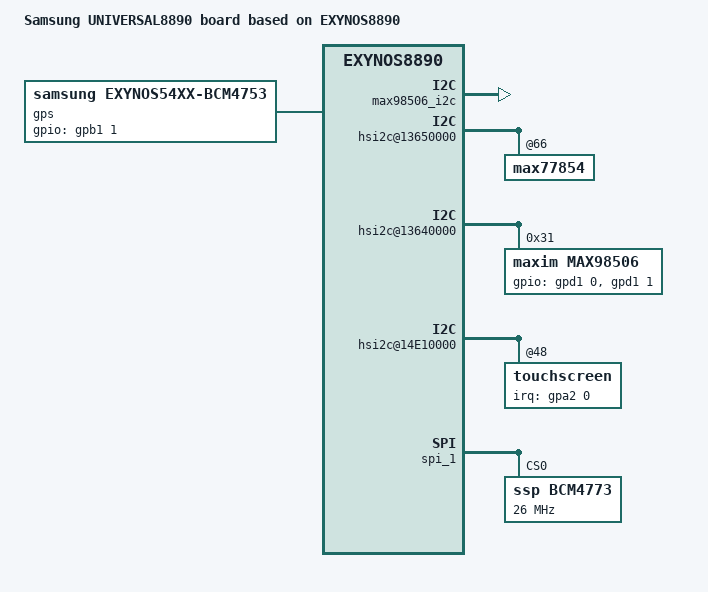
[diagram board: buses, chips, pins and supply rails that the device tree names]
/*
 * SAMSUNG UNIVERSAL8890 board device tree source
 *
 * Copyright (c) 2013 Samsung Electronics Co., Ltd.
 *		http://www.samsung.com
 *
 * This program is free software; you can redistribute it and/or modify
 * it under the terms of the GNU General Public License version 2 as
 * published by the Free Software Foundation.
*/

/dts-v1/;
#include "exynos8890-herolte_common.dtsi"
#include "exynos8890-herolte_kor_gpio_02.dtsi"
#include "exynos8890-herolte_battery_eur_00.dtsi"
#include "exynos8890-sound-cs47l91.dtsi"
#include "exynos8890-luckylte_mst.dtsi"
#include "exynos8890-herolte_fingerprint-sensor_00.dtsi"
#include "exynos8890-herolte_kor-tdmb-00.dtsi"
#include "exynos8890-herolte_display_00.dtsi"
#include "exynos8890-herolte_motor.dtsi"
#include "exynos8890-herolte_svcled.dtsi"

/ {
	model = "Samsung UNIVERSAL8890 board based on EXYNOS8890";
	model_info-chip = <8890>;
	model_info-platform = "android";
	model_info-subtype = "samsung";
	model_info-hw_rev = <0>;
	model_info-hw_rev_end = <0>;
	compatible = "samsung,exynos8890", "samsung,UNIVERSAL8890";

	audio_pdata {
		compatible = "samsung,audio-pdata";
		seamless_voicewakeup;
		status = "okay";
	};

	pinctrl@10580000 {
		codec_irq: codec-irq {
			samsung,pins = "gpa2-6";
			samsung,pin-function = <0xf>;
			samsung,pin-pud = <0>;
		};
		max98506_ctrl: max98506-ctl {
			samsung,pins ="gpa2-2";
			samsung,pin-function = <0>;
			samsung,pin-pud = <0>;
			samsung,pin-con-pdn =<2>;
			samsung,pin-pud-pdn = <0>;
		};
	};

	pinctrl@136D0000 {
		max98506_i2c: max98506-i2c {
			samsung,pins = "gpd1-0", "gpd1-1";
			samsung,pin-pud = <0>;
			status = "okay";
		};
	};

	pinctrl@14CC0000 {
		codec_reset: codec-reset {
			samsung,pins ="gpe6-5";
			samsung,pin-function = <1>;
			samsung,pin-pud = <1>;
			samsung,pin-con-pdn =<3>;
			samsung,pin-pud-pdn = <1>;
			samsung,pin-val = <0>;
		};

		audio_clk_sel: audio-clk-sel {
			samsung,pins ="gpe0-5";
			samsung,pin-function = <1>;
			samsung,pin-pud = <1>;
			samsung,pin-con-pdn =<3>;
			samsung,pin-pud-pdn = <1>;
			samsung,pin-val = <0>;
		};
	};

	hsi2c@13650000 {
		status = "okay";

		max77854@66 {
			status = "okay";
		};
	};

	hsi2c@13640000 {
		status = "okay";
		max98506@31 {
			compatible = "maxim,max98506";
			reg = <0x31>;
			pinctrl-names = "default";
			pinctrl-0 = <&max98506_i2c &max98506_ctrl>;
			gpios = <&gpd1 0 0
				&gpd1 1 0
				>;
			i2c-gpio,delay-us = <2>;
			maxim,platform_type = <0>;
			maxim,spk-gain = <0x14>;
			maxim,sysclk = <12288000>;
			maxim,vmon_slot = <0>;
			maxim,platform_info = <0 0x4000 0x0F010203 0x0FF10203 0x00000000 40>;
			maxim,boost_step = <
						0x0F 0x0F 0x0F 0x0F
						0x0F 0x0F 0x0F 0x0F
						0x0F 0x0F 0x0F 0x0F
						0x0F 0x0F 0x02 0x00
						>;
			maxim,adc_threshold = <7>;
			maxim,registers-of-amp =
				<0x1F 0x00>,
				<0x21 0xC0>,
				<0x2F 0x00>;
			maxim,sub_reg = <0x34>;
			maxim,interleave= <1>;
		};
	};

	pinctrl@10580000 {
		attn_irq: attn-irq {
			samsung,pins = "gpa2-0";
			samsung,pin-function = <0xf>;
			samsung,pin-pud = <0>;
			samsung,pin-drv = <0>;
		};

		attn_input: attn-input {
			samsung,pins = "gpa2-0";
			samsung,pin-function = <0>;
			samsung,pin-pud = <1>;
		};
	};

	hsi2c@14E10000 {
		touchscreen@48{
			sec,irq_gpio = <&gpa2 0 0>;
			sec,firmware_name = "tsp_sec/hero_ub.bin";
		};
	};

	sound {
		mixer-paths = "mixer_paths_r00.xml";

		pinctrl-names = "default";
		pinctrl-0 = <&audio_clk_sel>;
		status = "okay";
	};

	spi_1: spi@14d30000 {
		#address-cells = <1>;
		#size-cells = <0>;

		pinctrl-names = "default";
		pinctrl-0 = <&spi1_mosi_sck_ssn &spi1_miso>;

		num-cs = <1>;
		status = "okay";

		BCM4773@0 {
			compatible = "ssp,BCM4773";
			reg = <0>;
			spi-max-frequency = <26000000>;
			spi-cpol;
			spi-cpha;
			pinctrl-names = "default";
			pinctrl-0 = <&ssp_host_req &ssp_mcu_req &ssp_mcu_resp &ssp_batch_wake_irq>;

			gpio-controller;
			#gpio-cells = <2>;
			ssp-host-req = <&gpa3 4 0x00>;
			ssp-mcu-req = <&gpe6 4 0x00>;
			ssp-mcu-resp = <&gpg0 2 0x00>;
			ssp-batch-wake-irq = <&gpa3 1 0x00>;
			ssp-acc-position = <7>;
			ssp-mag-position = <4>;
			ssp-sns-combination = <0>;
			ssp,prox-hi_thresh = <2000>;
			ssp,prox-low_thresh = <1400>;
			ssp-ap-rev = <1>;
			ssp-mag-array = <9930 866 (-228) 263 9197 121 (-135) 387 10378>;
			ssp-glass-type = <1>;

			controller-data {
				cs-gpio = <&gpe2 5 0>;
				samsung,spi-feedback-delay = <0>;
				};
			};
	};

	gps {
		compatible = "samsung,exynos54xx-bcm4753";

		pinctrl-names = "default";
		//pinctrl-0 = <&ssp_gps_pwr_en &ssp_host_wake>;
		pinctrl-0 = <&ssp_gps_pwr_en>;

		gpios = <&gpb1 1 0x0
			      //&gpa3 1 0x0
				>;
		status = "okay";
	};
	
	pinctrl@14CC0000 {
		tflash_en: tfalsh-en {
			samsung,pins = "gpe0-5";
			samsung,pin-pud = <0>;
		};
	};
};
